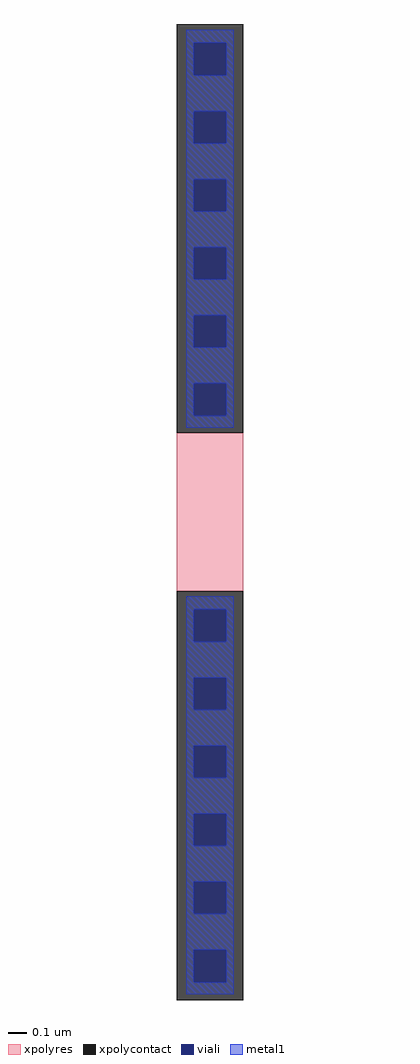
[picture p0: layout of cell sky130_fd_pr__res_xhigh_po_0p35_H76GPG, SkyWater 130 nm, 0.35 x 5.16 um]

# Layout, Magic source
magic
tech sky130A
magscale 1 2
<< xpolycontact >>
rect -35 84 35 516
rect -35 -516 35 -84
<< xpolyres >>
rect -35 -84 35 84
<< viali >>
rect -17 462 17 496
rect -17 390 17 424
rect -17 318 17 352
rect -17 246 17 280
rect -17 174 17 208
rect -17 102 17 136
rect -17 -137 17 -103
rect -17 -209 17 -175
rect -17 -281 17 -247
rect -17 -353 17 -319
rect -17 -425 17 -391
rect -17 -497 17 -463
<< metal1 >>
rect -25 496 25 510
rect -25 462 -17 496
rect 17 462 25 496
rect -25 424 25 462
rect -25 390 -17 424
rect 17 390 25 424
rect -25 352 25 390
rect -25 318 -17 352
rect 17 318 25 352
rect -25 280 25 318
rect -25 246 -17 280
rect 17 246 25 280
rect -25 208 25 246
rect -25 174 -17 208
rect 17 174 25 208
rect -25 136 25 174
rect -25 102 -17 136
rect 17 102 25 136
rect -25 89 25 102
rect -25 -103 25 -89
rect -25 -137 -17 -103
rect 17 -137 25 -103
rect -25 -175 25 -137
rect -25 -209 -17 -175
rect 17 -209 25 -175
rect -25 -247 25 -209
rect -25 -281 -17 -247
rect 17 -281 25 -247
rect -25 -319 25 -281
rect -25 -353 -17 -319
rect 17 -353 25 -319
rect -25 -391 25 -353
rect -25 -425 -17 -391
rect 17 -425 25 -391
rect -25 -463 25 -425
rect -25 -497 -17 -463
rect 17 -497 25 -463
rect -25 -510 25 -497
<< end >>
